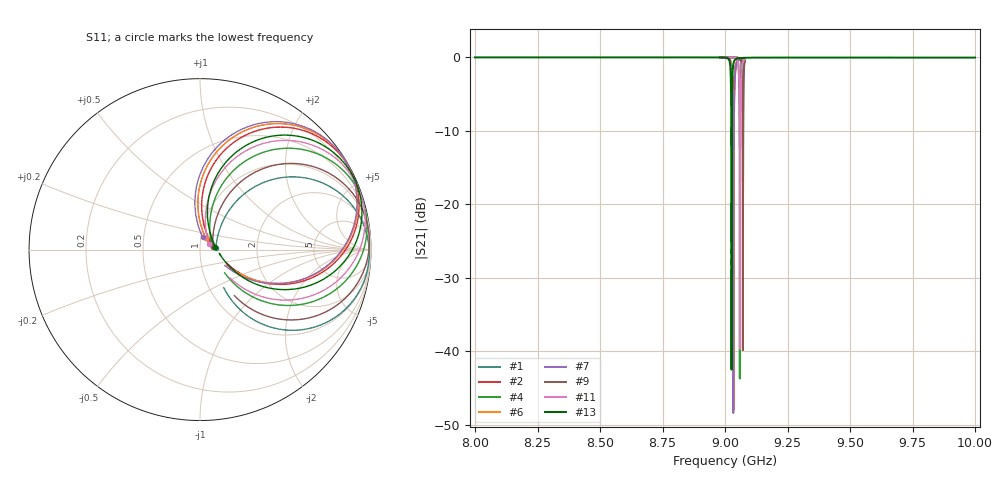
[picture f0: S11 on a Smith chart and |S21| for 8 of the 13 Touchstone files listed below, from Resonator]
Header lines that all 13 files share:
! Sonnet Data File
! From: emgraph Version : 16.52
!< PARAMS
!< END PARAMS
# GHZ S MA R 51.80000
Fixed: Pwid1 = 2000.0
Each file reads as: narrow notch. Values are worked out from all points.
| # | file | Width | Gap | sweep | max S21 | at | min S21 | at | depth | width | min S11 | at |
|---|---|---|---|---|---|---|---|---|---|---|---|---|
| 1 | Even_eCap_W20_gp33.s2p | 20.0 | 33.0 | 8.98 GHz to 9.08 GHz | -0.04 dB | 8.98 GHz | -36.0 dB | 9.072 GHz | 35.9 dB | 521 kHz | -20.6 dB | 8.98 GHz |
| 2 | Even_eCap_W23_gp12.s2p | 23.0 | 12.0 | 8.98 GHz to 9.08 GHz | -0.03 dB | 8.98 GHz | -46.8 dB | 9.0332 GHz | 46.1 dB | 595 kHz | -21.9 dB | 8.98 GHz |
| 3 | Even_eCap_W30_gp13.s2p | 30.0 | 13.0 | 8.98 GHz to 9.08 GHz | -0.02 dB | 8.98 GHz | -47.5 dB | 9.0325 GHz | 46.7 dB | 619 kHz | -22.9 dB | 8.98 GHz |
| 4 | Even_eCap_W30_gp23.s2p | 30.0 | 23.0 | 8.98 GHz to 9.08 GHz | -0.02 dB | 8.98 GHz | -43.7 dB | 9.0593 GHz | 43.4 dB | 507 kHz | -22.7 dB | 8.98 GHz |
| 5 | Even_eCap_W30_gp33.s2p | 30.0 | 33.0 | 8.98 GHz to 9.08 GHz | -0.03 dB | 8.98 GHz | -37.6 dB | 9.0717 GHz | 37.6 dB | 561 kHz | -21.6 dB | 8.98 GHz |
| 6 | Even_eCap_W33_gp12.s2p | 33.0 | 12.0 | 8.98 GHz to 9.08 GHz | -0.02 dB | 8.98 GHz | -48.0 dB | 9.0336 GHz | 47.1 dB | 628 kHz | -22.5 dB | 8.98 GHz |
| 7 | Even_eCap_W40_gp13.s2p | 40.0 | 13.0 | 8.98 GHz to 9.08 GHz | -0.02 dB | 8.98 GHz | -48.4 dB | 9.0331 GHz | 47.4 dB | 645 kHz | -22.7 dB | 8.98 GHz |
| 8 | Even_eCap_W40_gp23.s2p | 40.0 | 23.0 | 8.98 GHz to 9.08 GHz | -0.02 dB | 8.98 GHz | -44.8 dB | 9.0597 GHz | 44.4 dB | 538 kHz | -23.5 dB | 8.98 GHz |
| 9 | Even_eCap_W40_gp33.s2p | 40.0 | 33.0 | 8.98 GHz to 9.08 GHz | -0.03 dB | 8.98 GHz | -39.9 dB | 9.0717 GHz | 39.8 dB | 557 kHz | -22.3 dB | 8.98 GHz |
| 10 | Even_eCap_W50_gp13.s2p | 50.0 | 13.0 | 8.98 GHz to 9.08 GHz | -0.03 dB | 8.98 GHz | -49.1 dB | 9.0328 GHz | 47.9 dB | 664 kHz | -22.2 dB | 8.98 GHz |
| 11 | Even_eCap_W50_gp23.s2p | 50.0 | 23.0 | 8.98 GHz to 9.08 GHz | -0.02 dB | 8.98 GHz | -39.7 dB | 9.0605 GHz | 39.7 dB | 809 kHz | -24.3 dB | 8.98 GHz |
| 12 | Even_eCap_W50_gp33.s2p | 50.0 | 33.0 | 8.98 GHz to 9.08 GHz | -0.02 dB | 8.98 GHz | -35.4 dB | 9.072 GHz | 35.3 dB | 794 kHz | -22.9 dB | 8.98 GHz |
| 13 | Even_tcap_W10_gp12.s2p | 10.0 | 12.0 | 8 GHz to 10 GHz | -0.03 dB | 8.12 GHz | -42.5 dB | 9.026 GHz | 42.5 dB | 544 kHz | -21.3 dB | 8 GHz |
